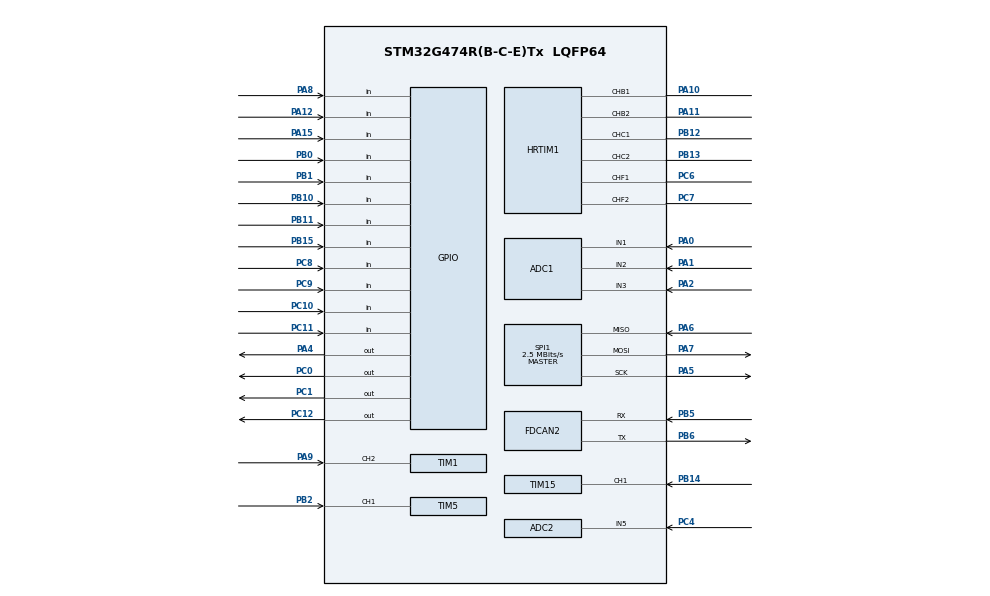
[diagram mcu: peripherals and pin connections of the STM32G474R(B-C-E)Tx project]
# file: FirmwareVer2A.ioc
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ADC1.Channel-1\#ChannelRegularConversion=ADC_CHANNEL_1
ADC1.Channel-2\#ChannelRegularConversion=ADC_CHANNEL_2
ADC1.Channel-3\#ChannelRegularConversion=ADC_CHANNEL_3
ADC1.ContinuousConvMode=ENABLE
ADC1.DMAContinuousRequests=ENABLE
ADC1.EOCSelection=ADC_EOC_SINGLE_CONV
ADC1.NbrOfConversion=3
ADC1.NbrOfConversionFlag=1
ADC1.OffsetNumber-1\#ChannelRegularConversion=ADC_OFFSET_NONE
ADC1.OffsetNumber-2\#ChannelRegularConversion=ADC_OFFSET_NONE
ADC1.OffsetNumber-3\#ChannelRegularConversion=ADC_OFFSET_NONE
ADC1.Overrun=ADC_OVR_DATA_PRESERVED
ADC1.OversamplingMode=ENABLE
ADC1.Rank-1\#ChannelRegularConversion=1
ADC1.Rank-2\#ChannelRegularConversion=2
ADC1.Rank-3\#ChannelRegularConversion=3
ADC1.RightBitShift=ADC_RIGHTBITSHIFT_1
ADC1.SamplingTime-1\#ChannelRegularConversion=ADC_SAMPLETIME_92CYCLES_5
ADC1.SamplingTime-2\#ChannelRegularConversion=ADC_SAMPLETIME_92CYCLES_5
ADC1.SamplingTime-3\#ChannelRegularConversion=ADC_SAMPLETIME_92CYCLES_5
ADC1.master=1
ADC2.Channel-0\#ChannelRegularConversion=ADC_CHANNEL_5
ADC2.ContinuousConvMode=ENABLE
ADC2.DMAContinuousRequests=ENABLE
ADC2.NbrOfConversionFlag=1
ADC2.OffsetNumber-0\#ChannelRegularConversion=ADC_OFFSET_NONE
ADC2.Rank-0\#ChannelRegularConversion=1
ADC2.SamplingTime-0\#ChannelRegularConversion=ADC_SAMPLETIME_640CYCLES_5
Dma.ADC1.0.Direction=DMA_PERIPH_TO_MEMORY
Dma.ADC1.0.EventEnable=DISABLE
Dma.ADC1.0.Instance=DMA1_Channel1
Dma.ADC1.0.MemDataAlignment=DMA_MDATAALIGN_HALFWORD
Dma.ADC1.0.MemInc=DMA_MINC_ENABLE
Dma.ADC1.0.Mode=DMA_CIRCULAR
Dma.ADC1.0.PeriphDataAlignment=DMA_PDATAALIGN_HALFWORD
Dma.ADC1.0.PeriphInc=DMA_PINC_DISABLE
Dma.ADC1.0.Polarity=HAL_DMAMUX_REQ_GEN_RISING
Dma.ADC1.0.Priority=DMA_PRIORITY_MEDIUM
Dma.ADC1.0.RequestNumber=1
Dma.ADC1.0.SignalID=NONE
Dma.ADC1.0.SyncEnable=DISABLE
Dma.ADC1.0.SyncPolarity=HAL_DMAMUX_SYNC_NO_EVENT
Dma.ADC1.0.SyncRequestNumber=1
Dma.ADC1.0.SyncSignalID=NONE
Dma.ADC2.1.Direction=DMA_PERIPH_TO_MEMORY
Dma.ADC2.1.EventEnable=DISABLE
Dma.ADC2.1.Instance=DMA1_Channel2
Dma.ADC2.1.MemDataAlignment=DMA_MDATAALIGN_HALFWORD
Dma.ADC2.1.MemInc=DMA_MINC_ENABLE
Dma.ADC2.1.Mode=DMA_CIRCULAR
Dma.ADC2.1.PeriphDataAlignment=DMA_PDATAALIGN_HALFWORD
Dma.ADC2.1.PeriphInc=DMA_PINC_DISABLE
Dma.ADC2.1.Polarity=HAL_DMAMUX_REQ_GEN_RISING
Dma.ADC2.1.Priority=DMA_PRIORITY_LOW
Dma.ADC2.1.RequestNumber=1
Dma.ADC2.1.SignalID=NONE
Dma.ADC2.1.SyncEnable=DISABLE
Dma.ADC2.1.SyncPolarity=HAL_DMAMUX_SYNC_NO_EVENT
Dma.ADC2.1.SyncRequestNumber=1
Dma.ADC2.1.SyncSignalID=NONE
Dma.Request0=ADC1
Dma.Request1=ADC2
FDCAN2.CalculateBaudRateNominal=1000000
FDCAN2.CalculateTimeBitNominal=1000
FDCAN2.CalculateTimeQuantumNominal=12.5
FDCAN2.DataPrescaler=1
FDCAN2.DataSyncJumpWidth=4
FDCAN2.DataTimeSeg1=5
FDCAN2.DataTimeSeg2=4
FDCAN2.FrameFormat=FDCAN_FRAME_CLASSIC
FDCAN2.NominalPrescaler=2
FDCAN2.NominalSyncJumpWidth=4
FDCAN2.NominalTimeSeg1=63
FDCAN2.NominalTimeSeg2=16
HRTIM1.ADCTrigger_Id1=__NULL
HRTIM1.Adrom_TB=HRTIM_TIM_ADROM_CREST
HRTIM1.Adrom_TC=HRTIM_TIM_ADROM_CREST
HRTIM1.Adrom_TF=HRTIM_TIM_ADROM_CREST
HRTIM1.Bmrom_TB=HRTIM_TIM_BMROM_CREST
HRTIM1.Bmrom_TC=HRTIM_TIM_BMROM_CREST
HRTIM1.Bmrom_TF=HRTIM_TIM_BMROM_CREST
HRTIM1.CompareUnit1-Output_TB1TB2=HRTIM_COMPAREUNIT_1
HRTIM1.CompareUnit1-Output_TC1TC2=HRTIM_COMPAREUNIT_1
HRTIM1.CompareUnit1-Output_TF1TF2=HRTIM_COMPAREUNIT_1
HRTIM1.CompareUnit2-Output_TB1TB2=__NULL
HRTIM1.CompareUnit2-Output_TF1TF2=__NULL
HRTIM1.CompareUnit3-Output_TB1TB2=HRTIM_COMPAREUNIT_3
HRTIM1.CompareUnit3-Output_TC1TC2=HRTIM_COMPAREUNIT_3
HRTIM1.CompareUnit3-Output_TF1TF2=HRTIM_COMPAREUNIT_3
HRTIM1.CompareValue1-Output_TB1TB2=0
HRTIM1.CompareValue1-Output_TC1TC2=0
HRTIM1.CompareValue1-Output_TF1TF2=0
HRTIM1.CompareValue3-Output_TB1TB2=0
HRTIM1.CompareValue3-Output_TC1TC2=0
HRTIM1.CompareValue3-Output_TF1TF2=0
HRTIM1.DeadTimeInsertion-Output_TB1TB2=HRTIM_TIMDEADTIMEINSERTION_DISABLED
HRTIM1.FaultLevel1-Output_TB1TB2=HRTIM_OUTPUTFAULTLEVEL_INACTIVE
HRTIM1.FaultLevel1-Output_TC1TC2=HRTIM_OUTPUTFAULTLEVEL_INACTIVE
HRTIM1.FaultLevel1-Output_TF1TF2=HRTIM_OUTPUTFAULTLEVEL_INACTIVE
HRTIM1.FaultLevel2-Output_TB1TB2=HRTIM_OUTPUTFAULTLEVEL_INACTIVE
HRTIM1.FaultLevel2-Output_TC1TC2=HRTIM_OUTPUTFAULTLEVEL_INACTIVE
HRTIM1.FaultLevel2-Output_TF1TF2=HRTIM_OUTPUTFAULTLEVEL_INACTIVE
HRTIM1.Ferom_TB=HRTIM_TIM_FEROM_CREST
HRTIM1.Ferom_TC=HRTIM_TIM_FEROM_CREST
HRTIM1.Ferom_TF=HRTIM_TIM_FEROM_CREST
HRTIM1.GreaterCMP1_TB=HRTIM_TIMERGTCMP1_EQUAL
HRTIM1.GreaterCMP1_TC=HRTIM_TIMERGTCMP1_EQUAL
HRTIM1.GreaterCMP1_TF=HRTIM_TIMERGTCMP1_EQUAL
HRTIM1.GreaterCMP3_TB=HRTIM_TIMERGTCMP3_EQUAL
HRTIM1.GreaterCMP3_TC=HRTIM_TIMERGTCMP3_EQUAL
HRTIM1.GreaterCMP3_TF=HRTIM_TIMERGTCMP3_EQUAL
HRTIM1.InterruptRequests1-Output_TB1TB2=HRTIM_TIM_IT_UPD
HRTIM1.NumberInterruptRequests-Output_TB1TB2=1
HRTIM1.NumberInterruptRequests_Master-MasterTimer=0
HRTIM1.NumberResetSource1-Output_TB1TB2=1
HRTIM1.NumberResetSource1-Output_TC1TC2=1
HRTIM1.NumberResetSource1-Output_TF1TF2=1
HRTIM1.NumberResetSource2_TB=0
HRTIM1.NumberResetSource2_TC=0
HRTIM1.NumberResetSource2_TF=0
HRTIM1.NumberResetTrigger-Output_TB1TB2=0
HRTIM1.NumberSetSource1-Output_TB1TB2=0
HRTIM1.NumberSetSource2_TB=1
HRTIM1.NumberSetSource2_TC=1
HRTIM1.NumberSetSource2_TF=1
HRTIM1.NumberUpdateTrigger-Output_TB1TB2=0
HRTIM1.NumberUpdateTrigger-Output_TC1TC2=0
HRTIM1.NumberUpdateTrigger-Output_TF1TF2=0
HRTIM1.Outrom_TB=HRTIM_TIM_OUTROM_CREST
HRTIM1.Outrom_TC=HRTIM_TIM_OUTROM_CREST
HRTIM1.Outrom_TF=HRTIM_TIM_OUTROM_CREST
HRTIM1.Periode_MASTER=64000
HRTIM1.Periode_TB=64000
HRTIM1.Periode_TC=64000
HRTIM1.Periode_TF=64000
HRTIM1.PreloadEnable-MasterTimer=HRTIM_PRELOAD_ENABLED
HRTIM1.PreloadEnable-Output_TB1TB2=HRTIM_PRELOAD_ENABLED
HRTIM1.PreloadEnable-Output_TC1TC2=HRTIM_PRELOAD_ENABLED
HRTIM1.PreloadEnable-Output_TF1TF2=HRTIM_PRELOAD_ENABLED
HRTIM1.PrescalerRatio_MASTER=HRTIM_PRESCALERRATIO_MUL8
HRTIM1.PrescalerRatio_TB=HRTIM_PRESCALERRATIO_MUL16
HRTIM1.PrescalerRatio_TC=HRTIM_PRESCALERRATIO_MUL16
HRTIM1.PrescalerRatio_TF=HRTIM_PRESCALERRATIO_MUL16
HRTIM1.ReSyncUpdate-Output_TB1TB2=HRTIM_TIMERESYNC_UPDATE_CONDITIONAL
HRTIM1.ReSyncUpdate-Output_TC1TC2=HRTIM_TIMERESYNC_UPDATE_CONDITIONAL
HRTIM1.ReSyncUpdate-Output_TF1TF2=HRTIM_TIMERESYNC_UPDATE_CONDITIONAL
HRTIM1.RepetitionUpdate-MasterTimer=HRTIM_UPDATEONREPETITION_ENABLED
HRTIM1.RepetitionUpdate-Output_TB1TB2=HRTIM_UPDATEONREPETITION_ENABLED
HRTIM1.RepetitionUpdate-Output_TC1TC2=HRTIM_UPDATEONREPETITION_ENABLED
HRTIM1.RepetitionUpdate-Output_TF1TF2=HRTIM_UPDATEONREPETITION_ENABLED
HRTIM1.ResetOutput1_Source1-Output_TB1TB2=HRTIM_OUTPUTRESET_TIMCMP1
HRTIM1.ResetOutput1_Source1-Output_TC1TC2=HRTIM_OUTPUTRESET_TIMCMP1
HRTIM1.ResetOutput1_Source1-Output_TF1TF2=HRTIM_OUTPUTRESET_TIMCMP1
HRTIM1.ResetUpdate-Output_TB1TB2=HRTIM_TIMUPDATEONRESET_DISABLED
HRTIM1.ResetUpdate-Output_TC1TC2=HRTIM_TIMUPDATEONRESET_DISABLED
HRTIM1.ResetUpdate-Output_TF1TF2=HRTIM_TIMUPDATEONRESET_DISABLED
HRTIM1.SetOutput2_Source1-Output_TB1TB2=HRTIM_OUTPUTSET_TIMCMP3
HRTIM1.SetOutput2_Source1-Output_TC1TC2=HRTIM_OUTPUTSET_TIMCMP3
HRTIM1.SetOutput2_Source1-Output_TF1TF2=HRTIM_OUTPUTSET_TIMCMP3
HRTIM1.UpDownMode-Output_TB1TB2=HRTIM_TIMERUPDOWNMODE_UPDOWN
HRTIM1.UpDownMode-Output_TC1TC2=HRTIM_TIMERUPDOWNMODE_UPDOWN
HRTIM1.UpDownMode-Output_TF1TF2=HRTIM_TIMERUPDOWNMODE_UPDOWN
HRTIM1.UpdateGating-Output_TB1TB2=HRTIM_UPDATEGATING_INDEPENDENT
HRTIM1.UpdateGating-Output_TC1TC2=HRTIM_UPDATEGATING_INDEPENDENT
HRTIM1.UpdateGating-Output_TF1TF2=HRTIM_UPDATEGATING_INDEPENDENT
HRTIM1.rom_TB=HRTIM_TIM_ROM_CREST
HRTIM1.rom_TC=HRTIM_TIM_ROM_CREST
HRTIM1.rom_TF=HRTIM_TIM_ROM_CREST
Mcu.Family=STM32G4
Mcu.Name=STM32G474R(B-C-E)Tx
Mcu.Package=LQFP64
NVIC.FDCAN2_IT0_IRQn=true\:13\:0\:true\:false\:true\:true\:true\:true
NVIC.HRTIM1_TIMB_IRQn=true\:4\:0\:true\:false\:true\:true\:true\:true
NVIC.PriorityGroup=NVIC_PRIORITYGROUP_4
NVIC.SPI1_IRQn=true\:0\:0\:false\:false\:true\:true\:true\:true
NVIC.TIM6_DAC_IRQn=true\:0\:0\:false\:false\:true\:true\:true\:true
NVIC.TIM7_DAC_IRQn=true\:14\:0\:true\:false\:true\:true\:true\:true
PA0.Mode=IN1-Single-Ended
PA0.Signal=ADC1_IN1
PA1.Mode=IN2-Single-Ended
PA1.Signal=ADC1_IN2
PA10.Mode=Output_TB1TB2
PA10.Signal=HRTIM1_CHB1
PA11.Mode=Output_TB1TB2
PA11.Signal=HRTIM1_CHB2
PA12.Signal=GPIO_Input
PA13.Mode=Trace_Asynchronous_SW
PA13.Signal=SYS_JTMS-SWDIO
PA14.Mode=Trace_Asynchronous_SW
PA14.Signal=SYS_JTCK-SWCLK
PA15.Signal=GPIO_Input
PA2.Mode=IN3-Single-Ended
PA2.Signal=ADC1_IN3
PA4.Signal=GPIO_Output
PA5.Mode=Full_Duplex_Master
PA5.Signal=SPI1_SCK
PA6.Mode=Full_Duplex_Master
PA6.Signal=SPI1_MISO
PA7.Mode=Full_Duplex_Master
PA7.Signal=SPI1_MOSI
PA8.Signal=GPIO_Input
PA9.Signal=S_TIM1_CH2
PB0.Signal=GPIO_Input
PB1.Signal=GPIO_Input
PB10.Signal=GPIO_Input
PB11.Signal=GPIO_Input
PB12.Mode=Output_TC1TC2
PB12.Signal=HRTIM1_CHC1
PB13.Mode=Output_TC1TC2
PB13.Signal=HRTIM1_CHC2
PB14.Signal=S_TIM15_CH1
PB15.Signal=GPIO_Input
PB2.Signal=S_TIM5_CH1
PB3.Mode=Trace_Asynchronous_SW
PB3.Signal=SYS_JTDO-SWO
PB5.Mode=FDCAN_Activate
PB5.Signal=FDCAN2_RX
PB6.Mode=FDCAN_Activate
PB6.Signal=FDCAN2_TX
PC0.Signal=GPIO_Output
PC1.Signal=GPIO_Output
PC10.Signal=GPIO_Input
PC11.Signal=GPIO_Input
PC12.Signal=GPIO_Output
PC4.Mode=IN5-Single-Ended
PC4.Signal=ADC2_IN5
PC6.Mode=Output_TF1TF2
PC6.Signal=HRTIM1_CHF1
PC7.Mode=Output_TF1TF2
PC7.Signal=HRTIM1_CHF2
PC8.Signal=GPIO_Input
PC9.Signal=GPIO_Input
ProjectManager.HeapSize=0x200
ProjectManager.StackSize=0x400
ProjectManager.TargetToolchain=CMake
RCC.ADC12Freq_Value=160000000
RCC.ADC345Freq_Value=160000000
RCC.AHBFreq_Value=160000000
RCC.APB1Freq_Value=160000000
RCC.APB1TimFreq_Value=160000000
RCC.APB2Freq_Value=160000000
RCC.APB2TimFreq_Value=160000000
RCC.CortexFreq_Value=160000000
RCC.EXTERNAL_CLOCK_VALUE=12288000
RCC.HCLKFreq_Value=160000000
RCC.HSE_VALUE=8000000
RCC.HSI48_VALUE=48000000
RCC.HSI_VALUE=16000000
RCC.LSE_VALUE=32768
RCC.PLLN=20
RCC.SYSCLKFreq_VALUE=160000000
RCC.SYSCLKSource=RCC_SYSCLKSOURCE_PLLCLK
RCC.USBFreq_Value=160000000
RCC.VCOOutputFreq_Value=320000000
SH.S_TIM15_CH1.0=TIM15_CH1,PWM_Input_1
SH.S_TIM1_CH2.0=TIM1_CH2,PWM_Input_2
SH.S_TIM5_CH1.0=TIM5_CH1,PWM_Input_1
SPI1.BaudRatePrescaler=SPI_BAUDRATEPRESCALER_64
SPI1.CLKPolarity=SPI_POLARITY_HIGH
SPI1.CalculateBaudRate=2.5 MBits/s
SPI1.DataSize=SPI_DATASIZE_16BIT
SPI1.Direction=SPI_DIRECTION_2LINES
SPI1.Mode=SPI_MODE_MASTER
SPI1.NSSPMode=SPI_NSS_PULSE_DISABLE
SPI1.VirtualType=VM_MASTER
TIM2.Prescaler=159
TIM6.Dithering=Disable
TIM6.PeriodNoDither=10000
TIM6.Prescaler=1599
TIM7.PeriodNoDither=64000
TIM7.Prescaler=49
VP_HRTIM1_VS_hrtimMasterTimerNoOutput.Mode=MasterTimer
VP_SYS_VS_DBSignals.Mode=DisableDeadBatterySignals
VP_TIM15_VS_ClockSourceINT.Mode=Internal
VP_TIM1_VS_ClockSourceINT.Mode=Internal
VP_TIM2_VS_ClockSourceINT.Mode=Internal
VP_TIM5_VS_ClockSourceINT.Mode=Internal
VP_TIM6_VS_ClockSourceINT.Mode=Enable_Timer
VP_TIM7_VS_ClockSourceINT.Mode=Enable_Timer
VREF+.Mode=InternalMode
VREF+.Signal=VREFBUF_OUT
board=custom

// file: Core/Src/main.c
/* USER CODE BEGIN Header */
/**
  ******************************************************************************
  * @file           : main.c
  * @brief          : Main program body
  ******************************************************************************
  * @attention
  *
  * Copyright (c) 2025 STMicroelectronics.
  * All rights reserved.
  *
  * This software is licensed under terms that can be found in the LICENSE file
  * in the root directory of this software component.
  * If no LICENSE file comes with this software, it is provided AS-IS.
  *
  ******************************************************************************
  */
/* USER CODE END Header */
#include "main.h"
#include "adc.h"
#include "dma.h"
#include "fdcan.h"
#include "hrtim.h"
#include "spi.h"
#include "tim.h"
#include "gpio.h"

/* USER CODE BEGIN Includes */
#include <stdio.h>
#include <math.h>
#include <string.h>
#include <stdbool.h>
#include <stdlib.h>
// #include "arm_math.h"
#include "defines.h"
#include "FastMath.h"
#include "FOC.h"
/* USER CODE END Includes */

/* USER CODE BEGIN PV */
FDCAN_RxHeaderTypeDef RxHeader;
uint8_t RxData[64];
FDCAN_TxHeaderTypeDef TxHeader;
uint8_t TxData[64];

char printBuffer[1024];

// FOC variables
volatile FOC_data* FOC;

// Motor variables
volatile bool SPI_Wait = false;
volatile uint8_t SPI_WaitState = 0;
volatile uint32_t SPI_buf = 0U;
int32_t motor_PhysPosition;
int32_t motor_lastPhysPosition;
volatile uint32_t motor_lastMeasTime, motor_lastMeasTime2;
uint32_t motor_last2MeasTime;
volatile float motor_speed = 0.0f; // encoder LSBs / us
int32_t KTY_Temperature;
#ifdef USE_EMRAX_MOTOR
volatile int32_t Encoder_os = 449; // encoder offset angle
const int32_t KTY_LookupR[] = {980,1030,1135,1247,1367,1495,1630,1772,1922,2000,2080,2245,2417,2597,2785,2980,3182,3392,3607,3817,3915,4008,4166,4280};
const int32_t KTY_LookupT[] = {-55,-50,-40,-30,-20,-10,0,10,20,25,30,40,50,60,70,80,90,100,110,120,125,130,140,150};
const uint16_t KTY_LookupSize = 24;
#endif
#ifdef USE_AMK_MOTOR
static const int32_t Encoder_os = 4450;
const int32_t KTY_LookupR[] = {359,391,424,460,498,538,581,603,626,672,722,773,826,882,940,1000,1062,1127,1194,1262,1334,1407,1482,1560,1640,1722,1807,1893,1982,2073,2166,2261,2357,2452,2542,2624};
const int32_t KTY_LookupT[] = {-40,-30,-20,-10,0,10,20,25,30,40,50,60,70,80,90,100,110,120,130,140,150,160,170,180,190,200,210,220,230,240,250,260,270,280,290,300};
const uint16_t KTY_LookupSize = 36;
#endif

// MOSFET & gate driver variables
int32_t MOSFET_NTC_LookupR[] = {165, 182, 201, 223, 248, 276, 308, 344, 387, 435, 492, 557, 634, 724, 829, 954, 1101, 1277, 1488, 1741, 2048, 2421, 2877, 3438, 4134, 5000, 6087, 7462, 9213, 11462, 14374};
int32_t MOSFET_NTC_LookupT[] = {150, 145, 140, 135, 130, 125, 120, 115, 110, 105, 100, 95, 90, 85, 80, 75, 70, 65, 60, 55, 50, 45, 40, 35, 30, 25, 20, 15, 10, 5, 0};
uint16_t MOSFET_NTC_LookupSize = 31;
uint8_t driver_RDY = 0; // format: |NA|NA|UH|UL|VH|VL|WH|WL|
uint8_t driver_OK = 0;  // format: |NA|NA|UH|UL|VH|VL|WH|WL|
uint8_t U_temp, V_temp, W_temp;
uint32_t NTC_period, NTC_dutyCycle, NTC_Resistance;

// ADC variables
volatile int16_t adc_data[64];
volatile int16_t adc_os[3] = {0, 0, 0};

// timing stuff
uint32_t micros = 0, lastMicros = 0;
float dt_f = 33e-6f; // seconds
volatile int32_t dt_i = 50; // microseconds

// CANBus stuff
volatile uint8_t sendCANBus_flag = 0;

volatile bool init_complete = false;

/* USER CODE END PV */

void SystemClock_Config(void);
/* USER CODE BEGIN PFP */
void printCANBus(char* text);

void resetGateDriver();
void disableGateDriver();
void writePwm(uint32_t timer, int32_t duty);

/* USER CODE END PFP */

int main(void)
{

  /* MCU Configuration--------------------------------------------------------*/

  /* Reset of all peripherals, Initializes the Flash interface and the Systick. */
  HAL_Init();

  /* Configure the system clock */
  SystemClock_Config();

  /* Initialize all configured peripherals */
  MX_GPIO_Init();
  MX_DMA_Init();
  MX_ADC1_Init();
  MX_FDCAN2_Init();
  MX_HRTIM1_Init();
  MX_SPI1_Init();
  MX_ADC2_Init();
  MX_TIM1_Init();
  MX_TIM5_Init();
  MX_TIM15_Init();
  MX_TIM2_Init();
  MX_TIM7_Init();
  MX_TIM6_Init();
  /* USER CODE BEGIN 2 */
  disableGateDriver();

  // allocate memory on heap for FOC data
  FOC = (FOC_data*)malloc(sizeof(FOC_data));
  if (FOC == NULL) {
    // Handle memory allocation failure
    disableGateDriver();
    while (1);
  }

  // Disable FPU lazy context save
  FPU->FPCCR &= ~FPU_FPCCR_LSPEN_Msk;

  // Init DWT delay
  CoreDebug->DEMCR |= CoreDebug_DEMCR_TRCENA_Msk;
  DWT->CYCCNT = 0;  // Reset counter
  DWT->CTRL |= DWT_CTRL_CYCCNTENA_Msk;

  // Enable microsecond counter
  LL_TIM_EnableCounter(TIM2);

  // Enable CANBus send interrupt timer
  LL_TIM_EnableCounter(TIM7);
  LL_TIM_EnableIT_UPDATE(TIM7);

  // encoder setup
  ENDAT_DIR_Read;
  #ifdef USE_EMRAX_MOTOR
  LL_SPI_Enable(SPI1);
  #endif
  #ifdef USE_AMK_MOTOR
  LL_SPI_EnableIT_RXNE(SPI1);
  #endif

  // Enable ADC1 (phase current sensors) with DMA
  LL_ADC_Enable(ADC1);
  while (!LL_ADC_IsActiveFlag_ADRDY(ADC1));
  LL_DMA_SetPeriphAddress(DMA1, LL_DMA_CHANNEL_1, (uint32_t)&ADC1->DR);
  LL_DMA_SetMemoryAddress(DMA1, LL_DMA_CHANNEL_1, (uint32_t)&adc_data[0]);
  LL_DMA_SetDataLength(DMA1, LL_DMA_CHANNEL_1, 3);
  LL_DMA_EnableChannel(DMA1, LL_DMA_CHANNEL_1);
  LL_ADC_REG_StartConversion(ADC1);

  // Enable ADC2 (motor temperature sensor) with DMA
  LL_ADC_Enable(ADC2);
  while (!LL_ADC_IsActiveFlag_ADRDY(ADC2));
  LL_DMA_SetPeriphAddress(DMA1, LL_DMA_CHANNEL_2, (uint32_t)&ADC2->DR);
  LL_DMA_SetMemoryAddress(DMA1, LL_DMA_CHANNEL_2, (uint32_t)&adc_data[3]);
  LL_DMA_SetDataLength(DMA1, LL_DMA_CHANNEL_2, 1);
  LL_DMA_EnableChannel(DMA1, LL_DMA_CHANNEL_2);
  LL_ADC_REG_StartConversion(ADC2);

  // CANbus setup
  HAL_FDCAN_Start(&hfdcan2);
  HAL_FDCAN_ActivateNotification(&hfdcan2, FDCAN_IT_RX_FIFO0_NEW_MESSAGE, 0);
  TxHeader.BitRateSwitch = FDCAN_BRS_OFF;
  TxHeader.DataLength = FDCAN_DLC_BYTES_6;
  TxHeader.ErrorStateIndicator = FDCAN_ESI_ACTIVE;
  TxHeader.FDFormat = FDCAN_CLASSIC_CAN;
  TxHeader.Identifier = CAN_STAT1_ID;
  TxHeader.IdType = FDCAN_EXTENDED_ID;
  TxHeader.MessageMarker = 0;
  TxHeader.TxEventFifoControl = FDCAN_NO_TX_EVENTS;
  TxHeader.TxFrameType = FDCAN_DATA_FRAME;

  // Enable TIM1, TIM15, and TIM5 (MOSFET temperture PWM signal)
  LL_TIM_EnableCounter(TIM1);
  LL_TIM_CC_EnableChannel(TIM1, LL_TIM_CHANNEL_CH1);
  LL_TIM_CC_EnableChannel(TIM1, LL_TIM_CHANNEL_CH2);
  LL_TIM_EnableCounter(TIM15);
  LL_TIM_CC_EnableChannel(TIM15, LL_TIM_CHANNEL_CH1);
  LL_TIM_CC_EnableChannel(TIM15, LL_TIM_CHANNEL_CH2);
  LL_TIM_EnableCounter(TIM5);
  LL_TIM_CC_EnableChannel(TIM5, LL_TIM_CHANNEL_CH1);
  LL_TIM_CC_EnableChannel(TIM5, LL_TIM_CHANNEL_CH2);

  // Enable TIM6 (Drive-enable timeout interrupt)
  LL_TIM_EnableCounter(TIM6);
  LL_TIM_EnableIT_UPDATE(TIM6);

  // initialize FOC variables
  FOC->Encoder_os = Encoder_os;
  FOC->Kp_Id = 0.0f; FOC->Ki_Id = 10.0f;
  FOC->Kp_Iq = 0.0f; FOC->Ki_Iq = 10.0f;
  FOC->integ_d = 0.0f;
  FOC->integ_q = 0.0f;
  FOC->motor_speed = 0.0f;
  FOC->TargetCurrent = 0.0f;
  FOC->TargetFieldWk = 0.0f;

  // measure ADC offset
  for (uint16_t i = 0; i < 100; i++){
    LL_mDelay(10);
    adc_os[0] = (adc_os[0]*3 + adc_data[0]) >> 2;
    adc_os[1] = (adc_os[1]*3 + adc_data[1]) >> 2;
    adc_os[2] = (adc_os[2]*3 + adc_data[2]) >> 2;
  }

  // Enable HRTIM (gate drive signals)
  FOC->F_sw = LL_HRTIM_TIM_GetPrescaler(HRTIM1, LL_HRTIM_TIMER_B);
  writePwm(U_TIMER, 0);
  writePwm(V_TIMER, 0);
  writePwm(W_TIMER, 0);
  LL_HRTIM_EnableOutput(HRTIM1,
  LL_HRTIM_OUTPUT_TB1|LL_HRTIM_OUTPUT_TB2|
  LL_HRTIM_OUTPUT_TF1|LL_HRTIM_OUTPUT_TF2|
  LL_HRTIM_OUTPUT_TC1|LL_HRTIM_OUTPUT_TC2);
  LL_HRTIM_TIM_CounterEnable(HRTIM1, LL_HRTIM_TIMER_MASTER|U_TIMER|V_TIMER|W_TIMER);

  // enable HRTIM timer B interrupt(FOC calculations)
  LL_HRTIM_EnableIT_UPDATE(HRTIM1, LL_HRTIM_TIMER_B);
  /* USER CODE END 2 */

  /* Infinite loop */
  /* USER CODE BEGIN WHILE */

  // CRC-Check: (original_msg) modulo-2 division (crc-bits), if remainder = 0, then valid

  init_complete = true;
  while (1)
  {
    micros = TIM2->CNT;
    dt_i = micros - lastMicros;
    dt_f = dt_i * 1e-6f;

    // start read motor position
    motor_lastPhysPosition = motor_PhysPosition;
    motor_last2MeasTime = motor_lastMeasTime;
    #ifdef USE_EMRAX_MOTOR
    //RM44SI encoder
    LL_SPI_TransmitData16(SPI1, 0);
    uint32_t startTime = TIM2->CNT;
    #endif
    #ifdef USE_AMK_MOTOR
    // AMK type-P encoder
    ENDAT_DIR_WRITE;
    //while (LL_SPI_IsActiveFlag_RXNE(SPI1)) LL_SPI_ReceiveData8(SPI1); // clear SPI buffer
    LL_SPI_Disable(SPI1);
    LL_SPI_SetDataWidth(SPI1, LL_SPI_DATAWIDTH_10BIT);
    LL_SPI_SetRxFIFOThreshold(SPI1, LL_SPI_RX_FIFO_TH_HALF);
    LL_SPI_SetTransferBitOrder(SPI1, LL_SPI_MSB_FIRST);
    LL_SPI_SetClockPhase(SPI1, LL_SPI_PHASE_2EDGE);
    LL_SPI_Enable(SPI1);

    __disable_irq(); // adding this just in case, feel free to delete - Rachel
    SPI_Wait = true;
    SPI_WaitState = 0;
    SPI_buf = 0;
    __enable_irq();

    LL_SPI_TransmitData16(SPI1, 28U); // send mode 1 (0b0000011100): Encoder send position values
    #endif

    // read gate driver status (FLT and RDY pins)
    driver_RDY = (DRV_RDY_UH<<5) | (DRV_RDY_UL<<4) | (DRV_RDY_VH<<3) | (DRV_RDY_VL<<2) | (DRV_RDY_WH<<1) | DRV_RDY_WL;
    driver_OK  = (DRV_FLT_UH<<5) | (DRV_FLT_UL<<4) | (DRV_FLT_VH<<3) | (DRV_FLT_VL<<2) | (DRV_FLT_WH<<1) | DRV_FLT_WL;
    if ((driver_RDY & driver_OK) != 63){ // 0b00111111
      disableGateDriver();
    }

    // calculate motor temperature
    KTY_Temperature = lookupTbl(KTY_LookupR, KTY_LookupT, KTY_LookupSize, adc_data[3] >> 1);

    // measure MOSFETs temperature
    NTC_period    = LL_TIM_OC_GetCompareCH2(TIM1);
    NTC_dutyCycle = LL_TIM_OC_GetCompareCH1(TIM1);
    NTC_Resistance = 24631 * NTC_dutyCycle / NTC_period - 4700;
    U_temp = lookupTbl(MOSFET_NTC_LookupR, MOSFET_NTC_LookupT, MOSFET_NTC_LookupSize, NTC_Resistance);
    NTC_period    = LL_TIM_OC_GetCompareCH1(TIM15);
    NTC_dutyCycle = LL_TIM_OC_GetCompareCH2(TIM15);
    NTC_Resistance = 24631 * (NTC_period - NTC_dutyCycle) / NTC_period - 4700;
    V_temp = lookupTbl(MOSFET_NTC_LookupR, MOSFET_NTC_LookupT, MOSFET_NTC_LookupSize, NTC_Resistance);
    NTC_period    = LL_TIM_OC_GetCompareCH1(TIM5);
    NTC_dutyCycle = LL_TIM_OC_GetCompareCH2(TIM5);
    NTC_Resistance = 24631 * (NTC_period - NTC_dutyCycle) / NTC_period - 4700;
    W_temp = lookupTbl(MOSFET_NTC_LookupR, MOSFET_NTC_LookupT, MOSFET_NTC_LookupSize, NTC_Resistance);

    // wait for encoder communication to finish
    #ifdef USE_EMRAX_MOTOR
    while (!LL_SPI_IsActiveFlag_RXNE(SPI1)) {
      if (TIM2->CNT - startTime > 10000U) break;
    }
    motor_lastMeasTime = TIM2->CNT - 7;
    motor_PhysPosition = LL_SPI_ReceiveData16(SPI1);
    motor_PhysPosition = (motor_PhysPosition & 0x7FFF) >> 2;
    #endif
    #ifdef USE_AMK_MOTOR
    while (SPI_Wait); // wait for 10-bit command to transfer (reset in interrupt)
    uint8_t shiftAmount = 0;
    while ((SPI_buf & 1UL) == 0){
      SPI_buf = SPI_buf >> 1;
      shiftAmount++;
    }
    __disable_irq();
    motor_PhysPosition = (SPI_buf >> 4) & (N_STEP_ENCODER-1);
    motor_lastMeasTime = motor_lastMeasTime2;
    __enable_irq();
    #endif

    // calculate motor speed
    int32_t motor_PhysPositionDiff = motor_PhysPosition - motor_lastPhysPosition;
    if (motor_PhysPositionDiff > (N_STEP_ENCODER >> 1)) {
      motor_PhysPositionDiff -= N_STEP_ENCODER;
    } else if (motor_PhysPositionDiff < -(N_STEP_ENCODER >> 1)) {
      motor_PhysPositionDiff += N_STEP_ENCODER;
    }
    float motor_speed_new = (float)motor_PhysPositionDiff / (float)(motor_lastMeasTime - motor_last2MeasTime);
    motor_speed += (motor_speed_new - motor_speed) * 0.01f;

    // move encoder info to FOC struct
    __disable_irq();
    FOC->motor_PhysPosition = motor_PhysPosition;
    FOC->motor_lastMeasTime = motor_lastMeasTime;
    FOC->motor_speed = motor_speed;
    FOC->U_current = (adc_data[0] - adc_os[0]) * 0.075f;
    FOC->V_current = (adc_data[1] - adc_os[1]) * 0.075f;
    FOC->W_current = (adc_data[2] - adc_os[2]) * 0.075f;
    // Flush pipeline
    __ASM("nop");
    __ASM("nop");
    __ASM("nop");
    __ASM("nop");
    __ASM("nop");
    __enable_irq();

    // FOC_update(FOC);
    if (sendCANBus_flag != 0){
      if (HAL_FDCAN_GetTxFifoFreeLevel(&hfdcan2) != 0){
        switch (sendCANBus_flag) {
          case 2:
            TxHeader.Identifier = CAN_STAT1_ID;
            TxHeader.DataLength = FDCAN_DLC_BYTES_6;
            int16_t AC_current = FOC->I_q_avg * 100.0f;
            int16_t DC_current = FOC->I_d_avg * 100.0f; // TODO: find right formula
            int16_t motor_speed_scaled = FOC->motor_speed * 60e6f / N_STEP_ENCODER;
            memcpy(&TxData[0], &AC_current, 2);
            memcpy(&TxData[2], &DC_current, 2);
            memcpy(&TxData[4], &motor_speed_scaled, 2);
            sendCANBus_flag--;
            HAL_FDCAN_AddMessageToTxFifoQ(&hfdcan2, &TxHeader, TxData);
            break;
          case 3:
            TxHeader.Identifier = CAN_STAT2_ID;
            TxHeader.DataLength = FDCAN_DLC_BYTES_3;
            TxData[0] = U_temp + 40;
            TxData[1] = V_temp + 40;
            TxData[2] = W_temp + 40;
            sendCANBus_flag--;
            HAL_FDCAN_AddMessageToTxFifoQ(&hfdcan2, &TxHeader, TxData);
            break;
          case 4:
            TxHeader.Identifier = CAN_STAT3_ID;
            TxHeader.DataLength = FDCAN_DLC_BYTES_2;
            TxData[0] = KTY_Temperature + 40;
            TxData[1] = 0; // TODO
            sendCANBus_flag--;
            HAL_FDCAN_AddMessageToTxFifoQ(&hfdcan2, &TxHeader, TxData);
            break;
          case 1:
            TxHeader.Identifier = CAN_DEBUG_ID;
            TxHeader.DataLength = FDCAN_DLC_BYTES_8;
            int16_t temp = FOC->cmd_q * 100.0f;
            memcpy(&TxData[0], &temp, 2);
            temp = FOC->cmd_d * 100.0f;
            memcpy(&TxData[2], &temp, 2);
            temp = FOC->motor_ElecPosition * 10000.0f;
            memcpy(&TxData[4], &temp, 2);
            uint16_t temp2 = FOC->motor_PhysPosition;
            memcpy(&TxData[6], &temp2, 2);
            HAL_FDCAN_AddMessageToTxFifoQ(&hfdcan2, &TxHeader, TxData);
            sendCANBus_flag--;
            break;
          default:
            break;
        }
      }
    }

    /* USER CODE END WHILE */

    /* USER CODE BEGIN 3 */
    // printCANBus("----------------------\n");
    // sprintf(printBuffer, "ADC1_1: %d, ADC1_2: %d, ADC1_3: %d, ADC2_5: %d\n",
    // adc_data[0], adc_data[1], adc_data[2], adc_data[3]);
    // printCANBus(printBuffer);
    // sprintf(printBuffer, "motor_PhysPosition: %6ld motor_ElecPosition: %.03f\n", motor_PhysPosition, motor_ElecPosition);
    // printCANBus(printBuffer);
    // sprintf(printBuffer, "driver_RDY: %u driver_OK: %u\n", driver_RDY, driver_OK);
    // printCANBus(printBuffer);
    // sprintf(printBuffer, "U: %6ld, V: %6ld, W: %6ld, I_d: %.03f, cmd_d: %.03f, I_q: %.03f, cmd_q: %.03f\n", duty_u, duty_v, duty_w, I_d, cmd_d, I_q, cmd_q);
    // printCANBus(printBuffer);
    // LL_mDelay(50);
    while (TIM2->CNT - micros < 50); // AMK encoder sample rate limit
    lastMicros = micros;
  }
  /* USER CODE END 3 */
}

void SystemClock_Config(void)
{
  LL_FLASH_SetLatency(LL_FLASH_LATENCY_4);
  while(LL_FLASH_GetLatency() != LL_FLASH_LATENCY_4)
  {
  }
  LL_PWR_EnableRange1BoostMode();
  LL_RCC_HSI_Enable();
   /* Wait till HSI is ready */
  while(LL_RCC_HSI_IsReady() != 1)
  {
  }

  LL_RCC_HSI_SetCalibTrimming(64);
  LL_RCC_PLL_ConfigDomain_SYS(LL_RCC_PLLSOURCE_HSI, LL_RCC_PLLM_DIV_1, 20, LL_RCC_PLLR_DIV_2);
  LL_RCC_PLL_EnableDomain_SYS();
  LL_RCC_PLL_Enable();
   /* Wait till PLL is ready */
  while(LL_RCC_PLL_IsReady() != 1)
  {
  }

  LL_RCC_SetSysClkSource(LL_RCC_SYS_CLKSOURCE_PLL);
  LL_RCC_SetAHBPrescaler(LL_RCC_SYSCLK_DIV_2);
   /* Wait till System clock is ready */
  while(LL_RCC_GetSysClkSource() != LL_RCC_SYS_CLKSOURCE_STATUS_PLL)
  {
  }

  /* Insure 1us transition state at intermediate medium speed clock*/
  for (__IO uint32_t i = (170 >> 1); i !=0; i--);

  /* Set AHB prescaler*/
  LL_RCC_SetAHBPrescaler(LL_RCC_SYSCLK_DIV_1);
  LL_RCC_SetAPB1Prescaler(LL_RCC_APB1_DIV_1);
  LL_RCC_SetAPB2Prescaler(LL_RCC_APB2_DIV_1);
  LL_SetSystemCoreClock(160000000);

   /* Update the time base */
  if (HAL_InitTick (TICK_INT_PRIORITY) != HAL_OK)
  {
    Error_Handler();
  }
}

/* USER CODE BEGIN 4 */
void resetGateDriver() {
  LL_GPIO_ResetOutputPin(GPIOC, LL_GPIO_PIN_12);
  DELAY_US(GATE_DRIVER_RESET_US);
  FOC->TargetCurrent = 0.0f;
  FOC->TargetFieldWk = 0.0f;
  FOC->integ_d = 0.0f;
  FOC->integ_q = 0.0f;
  LL_GPIO_SetOutputPin(GPIOC, LL_GPIO_PIN_12);
}

void disableGateDriver() {
  LL_GPIO_ResetOutputPin(GPIOC, LL_GPIO_PIN_12);
}

void printCANBus(char* text) {
  TxHeader.Identifier = 0x3FF;
  TxHeader.IdType = FDCAN_STANDARD_ID;
  TxHeader.TxFrameType = FDCAN_DATA_FRAME;
  TxHeader.DataLength = FDCAN_DLC_BYTES_8;
  TxHeader.ErrorStateIndicator = FDCAN_ESI_ACTIVE;
  TxHeader.BitRateSwitch = FDCAN_BRS_OFF;
  TxHeader.FDFormat = FDCAN_CLASSIC_CAN;
  TxHeader.TxEventFifoControl = FDCAN_NO_TX_EVENTS;
  TxHeader.MessageMarker = 0;
  while (HAL_FDCAN_GetTxFifoFreeLevel(&hfdcan2) == 0);
  uint32_t i = 0;
  while (text[i] != '\0') {
    TxData[i & 7U] = text[i];
    if ((i & 7U) == 7U) {
      HAL_FDCAN_AddMessageToTxFifoQ(&hfdcan2, &TxHeader, TxData);
      while (HAL_FDCAN_GetTxFifoFreeLevel(&hfdcan2) == 0);
    }
    i++;
  }
  if (i & 7U) {
    for (uint8_t j = i & 7U; j < 8; j++) {
      TxData[j] = 0;
    }
    HAL_FDCAN_AddMessageToTxFifoQ(&hfdcan2, &TxHeader, TxData);
  }
}

void writePwm(uint32_t timer, int32_t duty) {
  duty = 64000 - duty;
  // duty = (duty > 62000) ? 62000 : duty;
  // duty = (duty < 2000) ? 2000 : duty;
  uint32_t duty_H, duty_L;
  if (duty <= deadTime) {
    duty_H = 0;
    duty_L = 0;
  }
  else if (duty >= 64000 - deadTime) {
    duty_H = 64000;
    duty_L = 64000;
  }
  else {
    if (duty <= deadTime << 1) {
      duty_H = 0;
      duty_L = duty + deadTime;
    }
    else if (duty >= 64000 - (deadTime << 1)) {
      duty_H = duty - deadTime;
      duty_L = 64000;
    }
    else {
      duty_H = duty - deadTime;
      duty_L = duty + deadTime;
    }
  }
  duty_H = (duty_H > 63900) ? 63900 : duty_H;
  duty_L = (duty_L > 63900) ? 63900 : duty_L;
  LL_HRTIM_TIM_SetCompare1(HRTIM1, timer, duty_H);
  LL_HRTIM_TIM_SetCompare3(HRTIM1, timer, duty_L);
}

void HAL_FDCAN_RxFifo0Callback(FDCAN_HandleTypeDef *hfdcan, uint32_t RxFifo0ITs)
{
  if((RxFifo0ITs & FDCAN_IT_RX_FIFO0_NEW_MESSAGE) != 0)
  {
    /* Retrieve Rx messages from RX FIFO0 */
    if (HAL_FDCAN_GetRxMessage(hfdcan, FDCAN_RX_FIFO0, &RxHeader, RxData) != HAL_OK)
    {
      Error_Handler();
    }
    if (RxHeader.Identifier == CAN_CMD_ID) {
      int16_t AC_current_raw;
      memcpy(&AC_current_raw, &RxData[0], 2);
      if (RxData[7] != 1) {
        disableGateDriver();
      }
      else {
        LL_TIM_SetCounter(TIM6, 0); // reset drive-enable timeout counter
        if ((LL_GPIO_ReadInputPort(GPIOC) & LL_GPIO_PIN_12) == 0 && init_complete) {
          resetGateDriver();
        }
      }
      FOC->TargetCurrent = AC_current_raw * 0.01f;
      FOC->TargetFieldWk = RxData[6] * -0.1f;
    }
  }
}

/* USER CODE END 4 */

void Error_Handler(void)
{
  __disable_irq();
  while (1)
  {
  }
}
